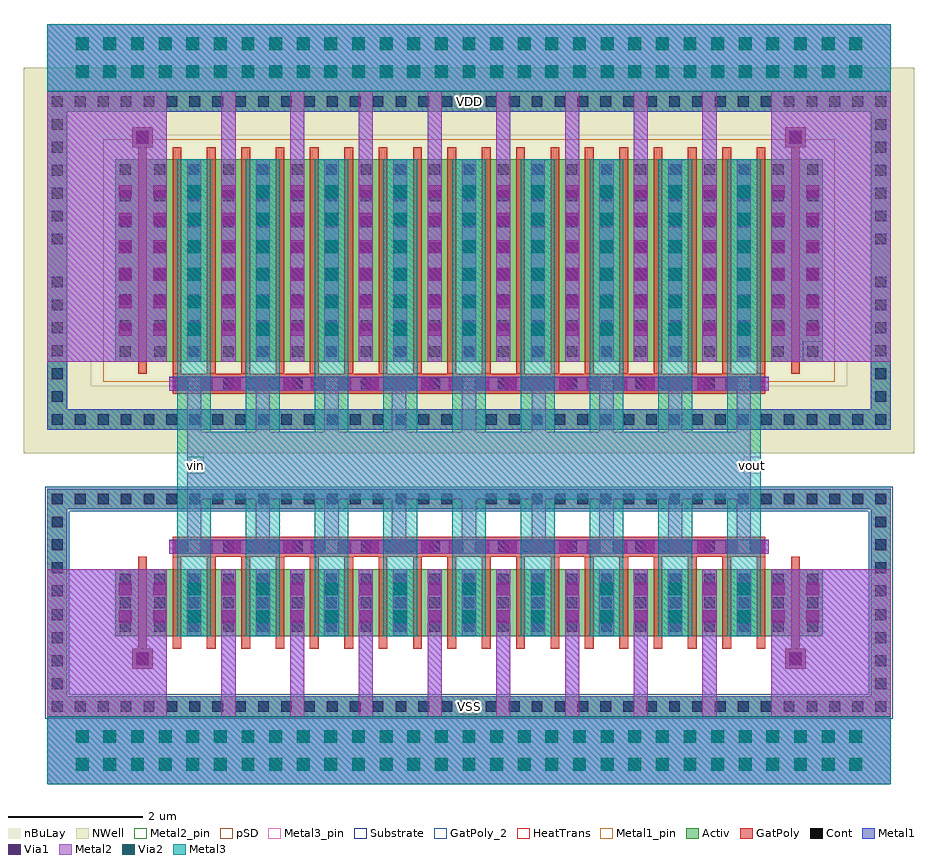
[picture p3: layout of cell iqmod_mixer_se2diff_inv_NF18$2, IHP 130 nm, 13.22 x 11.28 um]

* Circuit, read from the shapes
.subckt iqmod_mixer_se2diff_inv_NF18$2 VDD VSS vin vout
XM1 VSS VSS VSS VSS sg13_lv_nmos w=1u l=0.13u m=2
XM2 vout vin VSS VSS sg13_lv_nmos w=1u l=0.13u m=18
XM3 VDD VDD VDD VDD sg13_lv_pmos w=3u l=0.13u m=2
XM4 vout vin VDD VDD sg13_lv_pmos w=3u l=0.13u m=18
.ends

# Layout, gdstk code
from math import pi, radians
import gdstk
lib = gdstk.Library(unit=1e-6, precision=5e-09)
def R(c, l, rs):  # rectangles x0, y0, x1, y1
    for r in rs: c.add(gdstk.rectangle(r[:2], r[2:], *l))
def A(c, l, x, y, w, h, nx, ny, dx, dy):  # array of equal rectangles
    R(c, l, [(x+i*dx, y+j*dy, x+i*dx+w, y+j*dy+h) for i in range(nx) for j in range(ny)])
def P(c, l, *ps):  # polygons
    for p in ps: c.add(gdstk.Polygon(p, *l))
Activ = (1, 0)
GatPoly = (5, 0)
GatPoly_2 = (5, 2)
Cont = (6, 0)
Metal1 = (8, 0)
Metal1_pin = (8, 2)
Metal2 = (10, 0)
Metal2_pin = (10, 2)
pSD = (14, 0)
Via1 = (19, 0)
Via2 = (29, 0)
Metal3 = (30, 0)
Metal3_pin = (30, 2)
NWell = (31, 0)
nBuLay = (32, 0)
Substrate = (40, 0)
HeatTrans = (51, 0)

via_stack_124 = lib.new_cell('via_stack$124')
R(via_stack_124, Metal1, [(-0.105,-1.17,0.105,1.17)])
R(via_stack_124, Metal2, [(-0.1,-1.17,0.1,1.17)])
A(via_stack_124, Via1, -0.095, -1.12, 0.19, 0.19, 1, 6, 0, 0.41)
A(via_stack_124, Via2, -0.095, -1.12, 0.19, 0.19, 1, 6, 0, 0.41)
R(via_stack_124, Metal3, [(-0.1,-1.17,0.1,1.17)])

pmos_16 = lib.new_cell('pmos$16')
A(pmos_16, Activ, 0, 0, 0.3, 0.3, 21, 1, 0.51, 0)
R(pmos_16, Activ, [(-1.01,-0.71,-0.71,3.71), (11.21,-0.71,11.51,3.71), (0,0,10.5,3), (-1.01,3.71,11.51,4.01)])
P(pmos_16, Activ, [(-1.01,-1.01),(-1.01,3.71),(-0.71,3.71),(-0.71,-0.71),(11.21,-0.71),(11.21,3.71),(-1.01,3.71),(-1.01,4.01),(11.51,4.01),(11.51,-1.01)])
A(pmos_16, GatPoly, 0.34, -0.18, 0.13, 3.36, 20, 1, 0.51, 0)
R(pmos_16, GatPoly, [(0.34,-0.18,0.47,3.18)])
A(pmos_16, Cont, -0.94, -0.94, 0.16, 0.16, 18, 2, 0.34, 4.72)
A(pmos_16, Cont, 5.5, -0.94, 0.16, 0.16, 18, 2, 0.34, 4.72)
A(pmos_16, Cont, -0.94, -0.6, 0.16, 0.16, 1, 6, 0, 0.34)
A(pmos_16, Cont, 11.28, -0.6, 0.16, 0.16, 1, 6, 0, 0.34)
A(pmos_16, Cont, 0.07, 0.07, 0.16, 0.16, 21, 7, 0.51, 0.385)
A(pmos_16, Cont, -0.94, 1.74, 0.16, 0.16, 1, 6, 0, 0.34)
A(pmos_16, Cont, 11.28, 1.74, 0.16, 0.16, 1, 6, 0, 0.34)
A(pmos_16, Cont, 0.07, 2.77, 0.16, 0.16, 21, 1, 0.51, 0)
A(pmos_16, Metal1, 0.58, 0, 0.16, 3, 20, 1, 0.51, 0)
R(pmos_16, Metal1, [(-1.01,-1.01,11.51,-0.71), (-1.01,-0.71,-0.71,3.71), (11.21,-0.71,11.51,3.71), (0.07,0,0.23,3), (0.07,0,0.23,3), (0.58,0,0.74,3), (-1.01,3.71,11.51,4.01)])
R(pmos_16, pSD, [(-0.18,-0.3,10.68,3.3)])
R(pmos_16, NWell, [(-1.36,-1.36,11.86,4.36), (-0.31,-0.31,10.81,3.31)])
R(pmos_16, nBuLay, [(-1.36,-0.36,-0.36,3.36), (10.86,-0.36,11.86,3.36), (-1.36,3.36,11.86,4.36)])
P(pmos_16, nBuLay, [(-1.36,-1.36),(-1.36,3.36),(-0.36,3.36),(-0.36,-0.36),(10.86,-0.36),(10.86,3.36),(-1.36,3.36),(-1.36,4.36),(11.86,4.36),(11.86,-1.36)])
R(pmos_16, Substrate, [(10.2,0,10.5,0.3)])
A(pmos_16, HeatTrans, 0.34, -0.18, 0.13, 3.36, 20, 1, 0.51, 0)
pmos_16.add(gdstk.Label('pmos', (0.405,1.5), layer=63, texttype=0))
pmos_16.add(gdstk.Label('well', (5.25,-0.86), layer=63, texttype=0))
pmos_16.add(gdstk.Label('pmos', (0.405,1.5), layer=51, texttype=0))
pmos_16.add(gdstk.Label('pmos', (0.915,1.5), layer=51, texttype=0))
pmos_16.add(gdstk.Label('pmos', (1.425,1.5), layer=51, texttype=0))
pmos_16.add(gdstk.Label('pmos', (1.935,1.5), layer=51, texttype=0))
pmos_16.add(gdstk.Label('pmos', (2.445,1.5), layer=51, texttype=0))
pmos_16.add(gdstk.Label('pmos', (2.955,1.5), layer=51, texttype=0))
pmos_16.add(gdstk.Label('pmos', (3.465,1.5), layer=51, texttype=0))
pmos_16.add(gdstk.Label('pmos', (3.975,1.5), layer=51, texttype=0))
pmos_16.add(gdstk.Label('pmos', (4.485,1.5), layer=51, texttype=0))
pmos_16.add(gdstk.Label('pmos', (4.995,1.5), layer=51, texttype=0))
pmos_16.add(gdstk.Label('pmos', (5.505,1.5), layer=51, texttype=0))
pmos_16.add(gdstk.Label('pmos', (6.015,1.5), layer=51, texttype=0))
pmos_16.add(gdstk.Label('pmos', (6.525,1.5), layer=51, texttype=0))
pmos_16.add(gdstk.Label('pmos', (7.035,1.5), layer=51, texttype=0))
pmos_16.add(gdstk.Label('pmos', (7.545,1.5), layer=51, texttype=0))
pmos_16.add(gdstk.Label('pmos', (8.055,1.5), layer=51, texttype=0))
pmos_16.add(gdstk.Label('pmos', (8.565,1.5), layer=51, texttype=0))
pmos_16.add(gdstk.Label('pmos', (9.075,1.5), layer=51, texttype=0))
pmos_16.add(gdstk.Label('pmos', (9.585,1.5), layer=51, texttype=0))
pmos_16.add(gdstk.Label('pmos', (10.095,1.5), layer=51, texttype=0))

via_stack_125 = lib.new_cell('via_stack$125')
R(via_stack_125, Metal1, [(-0.105,-0.35,0.105,0.35)])
R(via_stack_125, Metal2, [(-0.1,-0.35,0.1,0.35)])
R(via_stack_125, Via1, [(-0.095,-0.3,0.095,-0.11), (-0.095,0.11,0.095,0.3)])
R(via_stack_125, Via2, [(-0.095,-0.3,0.095,-0.11), (-0.095,0.11,0.095,0.3)])
R(via_stack_125, Metal3, [(-0.1,-0.35,0.1,0.35)])

nmos_16 = lib.new_cell('nmos$16')
A(nmos_16, Activ, 0, 0, 0.3, 0.3, 21, 1, 0.51, 0)
R(nmos_16, Activ, [(-1.01,-0.89,-0.71,1.89), (11.21,-0.89,11.51,1.89), (0,0,10.5,1), (-1.01,1.89,11.51,2.19)])
P(nmos_16, Activ, [(-1.01,-1.19),(-1.01,1.89),(-0.71,1.89),(-0.71,-0.89),(11.21,-0.89),(11.21,1.89),(-1.01,1.89),(-1.01,2.19),(11.51,2.19),(11.51,-1.19)])
A(nmos_16, GatPoly, 0.34, -0.18, 0.13, 1.36, 20, 1, 0.51, 0)
R(nmos_16, GatPoly_2, [(0.34,-0.18,0.47,1.18)])
A(nmos_16, Cont, -0.94, -1.12, 0.16, 0.16, 18, 2, 0.34, 3.08)
A(nmos_16, Cont, 5.5, -1.12, 0.16, 0.16, 18, 2, 0.34, 3.08)
A(nmos_16, Cont, -0.94, -0.78, 0.16, 0.16, 1, 4, 0, 0.34)
A(nmos_16, Cont, 11.28, -0.78, 0.16, 0.16, 1, 4, 0, 0.34)
A(nmos_16, Cont, 0.07, 0.07, 0.16, 0.16, 21, 3, 0.51, 0.35)
A(nmos_16, Cont, -0.94, 0.6, 0.16, 0.16, 1, 4, 0, 0.34)
A(nmos_16, Cont, 11.28, 0.6, 0.16, 0.16, 1, 4, 0, 0.34)
A(nmos_16, Metal1, 0.07, 0, 0.16, 1, 21, 1, 0.51, 0)
R(nmos_16, Metal1, [(-1.01,-1.19,11.51,-0.89), (-1.01,-0.89,-0.71,1.89), (11.21,-0.89,11.51,1.89), (-1.01,1.89,11.51,2.19)])
R(nmos_16, Metal1_pin, [(0.07,0,0.23,1), (0.58,0,0.74,1)])
R(nmos_16, pSD, [(-1.04,-0.86,-0.68,1.86), (11.18,-0.86,11.54,1.86), (-1.04,1.86,11.54,2.22)])
P(nmos_16, pSD, [(-1.04,-1.22),(-1.04,1.86),(-0.68,1.86),(-0.68,-0.86),(11.18,-0.86),(11.18,1.86),(-1.04,1.86),(-1.04,2.22),(11.54,2.22),(11.54,-1.22)])
R(nmos_16, Substrate, [(-1.04,-0.86,-0.68,1.86), (11.18,-0.86,11.54,1.86), (-1.04,1.86,11.54,2.22)])
P(nmos_16, Substrate, [(-1.04,-1.22),(-1.04,1.86),(-0.68,1.86),(-0.68,-0.86),(11.18,-0.86),(11.18,1.86),(-1.04,1.86),(-1.04,2.22),(11.54,2.22),(11.54,-1.22)])
A(nmos_16, HeatTrans, 0.34, -0.18, 0.13, 1.36, 20, 1, 0.51, 0)
nmos_16.add(gdstk.Label('nmos', (0.405,0.5), layer=63, texttype=0))
nmos_16.add(gdstk.Label('sub!', (5.25,-1.04), layer=63, texttype=0))
nmos_16.add(gdstk.Label('nmos', (0.405,0.5), layer=51, texttype=0))
nmos_16.add(gdstk.Label('nmos', (0.915,0.5), layer=51, texttype=0))
nmos_16.add(gdstk.Label('nmos', (1.425,0.5), layer=51, texttype=0))
nmos_16.add(gdstk.Label('nmos', (1.935,0.5), layer=51, texttype=0))
nmos_16.add(gdstk.Label('nmos', (2.445,0.5), layer=51, texttype=0))
nmos_16.add(gdstk.Label('nmos', (2.955,0.5), layer=51, texttype=0))
nmos_16.add(gdstk.Label('nmos', (3.465,0.5), layer=51, texttype=0))
nmos_16.add(gdstk.Label('nmos', (3.975,0.5), layer=51, texttype=0))
nmos_16.add(gdstk.Label('nmos', (4.485,0.5), layer=51, texttype=0))
nmos_16.add(gdstk.Label('nmos', (4.995,0.5), layer=51, texttype=0))
nmos_16.add(gdstk.Label('nmos', (5.505,0.5), layer=51, texttype=0))
nmos_16.add(gdstk.Label('nmos', (6.015,0.5), layer=51, texttype=0))
nmos_16.add(gdstk.Label('nmos', (6.525,0.5), layer=51, texttype=0))
nmos_16.add(gdstk.Label('nmos', (7.035,0.5), layer=51, texttype=0))
nmos_16.add(gdstk.Label('nmos', (7.545,0.5), layer=51, texttype=0))
nmos_16.add(gdstk.Label('nmos', (8.055,0.5), layer=51, texttype=0))
nmos_16.add(gdstk.Label('nmos', (8.565,0.5), layer=51, texttype=0))
nmos_16.add(gdstk.Label('nmos', (9.075,0.5), layer=51, texttype=0))
nmos_16.add(gdstk.Label('nmos', (9.585,0.5), layer=51, texttype=0))
nmos_16.add(gdstk.Label('nmos', (10.095,0.5), layer=51, texttype=0))

via_stack_126 = lib.new_cell('via_stack$126')
R(via_stack_126, Metal1, [(-4.45,-0.105,4.45,0.105)])
R(via_stack_126, Metal2, [(-4.45,-0.1,4.45,0.1)])
A(via_stack_126, Via1, -4.4, -0.095, 0.19, 0.19, 22, 1, 0.41, 0)

via_stack_127 = lib.new_cell('via_stack$127')
R(via_stack_127, GatPoly, [(-4.4,-0.15,4.4,0.15)])
A(via_stack_127, Cont, -4.33, -0.08, 0.16, 0.16, 26, 1, 0.34, 0)
R(via_stack_127, Metal1, [(-4.38,-0.08,4.38,0.08)])

via_stack_128 = lib.new_cell('via_stack$128')
R(via_stack_128, GatPoly, [(-0.15,-0.15,0.15,0.15)])
R(via_stack_128, Cont, [(-0.08,-0.08,0.08,0.08)])
R(via_stack_128, Metal1, [(-0.145,-0.105,0.145,0.105)])
R(via_stack_128, Metal2, [(-0.145,-0.1,0.145,0.1)])
R(via_stack_128, Via1, [(-0.095,-0.095,0.095,0.095)])

via_stack_129 = lib.new_cell('via_stack$129')
R(via_stack_129, Metal1, [(-0.105,-1.17,0.105,1.17)])
R(via_stack_129, Metal2, [(-0.1,-1.17,0.1,1.17)])
A(via_stack_129, Via1, -0.095, -1.12, 0.19, 0.19, 1, 6, 0, 0.41)

via_stack_130 = lib.new_cell('via_stack$130')
R(via_stack_130, Metal1, [(-5.885,-0.31,5.885,0.31)])
R(via_stack_130, Metal2, [(-5.885,-0.305,5.885,0.305)])
A(via_stack_130, Via1, -5.835, -0.3, 0.19, 0.19, 29, 2, 0.41, 0.41)
A(via_stack_130, Via2, -5.835, -0.3, 0.19, 0.19, 29, 2, 0.41, 0.41)
R(via_stack_130, Metal3, [(-5.885,-0.305,5.885,0.305)])

via_stack_131 = lib.new_cell('via_stack$131')
R(via_stack_131, Metal1, [(-0.105,-0.35,0.105,0.35)])
R(via_stack_131, Metal2, [(-0.1,-0.35,0.1,0.35)])
R(via_stack_131, Via1, [(-0.095,-0.3,0.095,-0.11), (-0.095,0.11,0.095,0.3)])

iqmod_mixer_se2diff_inv_ = lib.new_cell('iqmod_mixer_se2diff_inv_NF18$2')
A(iqmod_mixer_se2diff_inv_, Metal1, 2.935, 1, 0.21, 2.19, 8, 1, 1.02, 0)
A(iqmod_mixer_se2diff_inv_, Metal1, 2.425, 2.19, 0.21, 1, 4, 1, 1.02, 0)
A(iqmod_mixer_se2diff_inv_, Metal1, 2.425, 6.27, 0.21, 3, 9, 1, 1.02, 0)
A(iqmod_mixer_se2diff_inv_, Metal1, 2.935, 6.27, 0.21, 4.01, 8, 1, 1.02, 0)
R(iqmod_mixer_se2diff_inv_, Metal1, [(0.35,0,12.87,1), (0.35,1,2.125,3.19), (6.36,1,6.86,1.3), (11.095,1,12.87,3.19), (1.615,1.71,1.915,2.01), (11.305,1.71,11.605,2.01), (2.425,2.19,2.635,3.19), (5.485,2.19,5.695,3.19), (6.505,2.19,6.715,3.19), (6.505,2.19,6.715,3.19), (7.525,2.19,7.735,3.19), (7.525,2.19,7.735,3.19), (8.545,2.19,8.755,3.19), (8.545,2.19,8.755,3.19), (9.565,2.19,9.775,3.19), (9.565,2.19,9.775,3.19), (10.585,2.19,10.795,3.19), (10.585,2.19,10.795,3.19), (0.35,6.27,2.125,10.28), (11.095,6.27,12.87,10.28), (1.615,9.45,1.915,9.75), (11.305,9.45,11.605,9.75), (6.36,9.98,6.86,10.28), (0.35,10.28,12.87,11.28)])
R(iqmod_mixer_se2diff_inv_, Metal1_pin, [(6.485,1.025,6.735,1.275), (6.485,10.005,6.735,10.255)])
A(iqmod_mixer_se2diff_inv_, Metal2, 2.935, 1, 0.21, 2.19, 8, 1, 1.02, 0)
A(iqmod_mixer_se2diff_inv_, Metal2, 2.425, 2.19, 0.21, 1, 9, 1, 1.02, 0)
A(iqmod_mixer_se2diff_inv_, Metal2, 2.425, 3.62, 0.21, 2.22, 3, 1, 1.02, 0)
A(iqmod_mixer_se2diff_inv_, Metal2, 8.545, 3.62, 0.21, 2.22, 3, 1, 1.02, 0)
A(iqmod_mixer_se2diff_inv_, Metal2, 2.425, 6.27, 0.21, 3, 9, 1, 1.02, 0)
A(iqmod_mixer_se2diff_inv_, Metal2, 2.935, 6.27, 0.21, 4.01, 8, 1, 1.02, 0)
R(iqmod_mixer_se2diff_inv_, Metal2, [(0.35,0,12.87,1), (0.35,1,2.125,3.19), (11.095,1,12.87,3.19), (1.615,1.71,1.915,2.01), (11.305,1.71,11.605,2.01), (5.465,3.62,5.675,5.84), (6.505,3.62,6.715,5.84), (7.54,3.62,7.75,5.84), (2.425,4.23,10.795,5.23), (0.35,6.27,2.125,10.28), (11.095,6.27,12.87,10.28), (1.615,9.45,1.915,9.75), (11.305,9.45,11.605,9.75), (0.35,10.28,12.87,11.28)])
R(iqmod_mixer_se2diff_inv_, Metal2_pin, [(2.425,4.605,2.675,4.855)])
A(iqmod_mixer_se2diff_inv_, Metal3, 2.28, 2.19, 0.5, 7.08, 9, 1, 1.02, 0)
A(iqmod_mixer_se2diff_inv_, Metal3, 2.425, 2.19, 0.21, 1, 9, 1, 1.02, 0)
A(iqmod_mixer_se2diff_inv_, Metal3, 2.425, 6.27, 0.21, 3, 9, 1, 1.02, 0)
R(iqmod_mixer_se2diff_inv_, Metal3, [(0.35,0,12.87,1), (2.28,4.23,10.94,5.23), (0.35,10.28,12.87,11.28)])
R(iqmod_mixer_se2diff_inv_, Metal3_pin, [(10.69,4.605,10.94,4.855)])
iqmod_mixer_se2diff_inv_.add(gdstk.Reference(via_stack_124, (2.53,7.77)))
iqmod_mixer_se2diff_inv_.add(gdstk.Reference(pmos_16, (1.36,6.27)))
iqmod_mixer_se2diff_inv_.add(gdstk.Reference(via_stack_125, (2.53,2.69)))
iqmod_mixer_se2diff_inv_.add(gdstk.Reference(nmos_16, (1.36,2.19)))
iqmod_mixer_se2diff_inv_.add(gdstk.Reference(via_stack_124, (3.55,7.77)))
iqmod_mixer_se2diff_inv_.add(gdstk.Reference(via_stack_124, (4.57,7.77)))
iqmod_mixer_se2diff_inv_.add(gdstk.Reference(via_stack_125, (3.55,2.69)))
iqmod_mixer_se2diff_inv_.add(gdstk.Reference(via_stack_125, (4.57,2.69)))
iqmod_mixer_se2diff_inv_.add(gdstk.Reference(via_stack_125, (6.61,2.69)))
iqmod_mixer_se2diff_inv_.add(gdstk.Reference(via_stack_124, (6.61,7.77)))
iqmod_mixer_se2diff_inv_.add(gdstk.Reference(via_stack_124, (8.65,7.77)))
iqmod_mixer_se2diff_inv_.add(gdstk.Reference(via_stack_124, (7.63,7.77)))
iqmod_mixer_se2diff_inv_.add(gdstk.Reference(via_stack_124, (5.59,7.77)))
iqmod_mixer_se2diff_inv_.add(gdstk.Reference(via_stack_124, (9.67,7.77)))
iqmod_mixer_se2diff_inv_.add(gdstk.Reference(via_stack_124, (10.69,7.77)))
iqmod_mixer_se2diff_inv_.add(gdstk.Reference(via_stack_125, (8.65,2.69)))
iqmod_mixer_se2diff_inv_.add(gdstk.Reference(via_stack_125, (10.69,2.69)))
iqmod_mixer_se2diff_inv_.add(gdstk.Reference(via_stack_125, (7.63,2.69)))
iqmod_mixer_se2diff_inv_.add(gdstk.Reference(via_stack_125, (5.59,2.69)))
iqmod_mixer_se2diff_inv_.add(gdstk.Reference(via_stack_125, (9.67,2.69)))
iqmod_mixer_se2diff_inv_.add(gdstk.Reference(via_stack_126, (6.61,3.52)))
iqmod_mixer_se2diff_inv_.add(gdstk.Reference(via_stack_127, (6.61,3.52)))
iqmod_mixer_se2diff_inv_.add(gdstk.Reference(via_stack_127, (6.61,5.94)))
iqmod_mixer_se2diff_inv_.add(gdstk.Reference(via_stack_126, (6.61,5.94)))
iqmod_mixer_se2diff_inv_.add(gdstk.Reference(via_stack_128, (1.765,9.6)))
iqmod_mixer_se2diff_inv_.add(gdstk.Reference(via_stack_129, (1.51,7.77)))
iqmod_mixer_se2diff_inv_.add(gdstk.Reference(via_stack_129, (2.02,7.77)))
iqmod_mixer_se2diff_inv_.add(gdstk.Reference(via_stack_130, (6.61,10.78)))
iqmod_mixer_se2diff_inv_.add(gdstk.Reference(via_stack_130, (6.61,0.5)))
iqmod_mixer_se2diff_inv_.add(gdstk.Reference(via_stack_128, (11.455,9.6), rotation=pi, x_reflection=True))
iqmod_mixer_se2diff_inv_.add(gdstk.Reference(via_stack_129, (11.71,7.77), rotation=pi, x_reflection=True))
iqmod_mixer_se2diff_inv_.add(gdstk.Reference(via_stack_129, (11.2,7.77), rotation=pi, x_reflection=True))
iqmod_mixer_se2diff_inv_.add(gdstk.Reference(via_stack_128, (1.765,1.86)))
iqmod_mixer_se2diff_inv_.add(gdstk.Reference(via_stack_131, (2.02,2.69)))
iqmod_mixer_se2diff_inv_.add(gdstk.Reference(via_stack_131, (1.51,2.69)))
iqmod_mixer_se2diff_inv_.add(gdstk.Reference(via_stack_128, (11.455,1.86), rotation=pi, x_reflection=True))
iqmod_mixer_se2diff_inv_.add(gdstk.Reference(via_stack_131, (11.2,2.69), rotation=pi, x_reflection=True))
iqmod_mixer_se2diff_inv_.add(gdstk.Reference(via_stack_131, (11.71,2.69), rotation=pi, x_reflection=True))
iqmod_mixer_se2diff_inv_.add(gdstk.Reference(via_stack_129, (3.04,7.77)))
iqmod_mixer_se2diff_inv_.add(gdstk.Reference(via_stack_131, (3.04,2.69)))
iqmod_mixer_se2diff_inv_.add(gdstk.Reference(via_stack_129, (10.18,7.77)))
iqmod_mixer_se2diff_inv_.add(gdstk.Reference(via_stack_129, (9.16,7.77)))
iqmod_mixer_se2diff_inv_.add(gdstk.Reference(via_stack_129, (8.14,7.77)))
iqmod_mixer_se2diff_inv_.add(gdstk.Reference(via_stack_129, (7.12,7.77)))
iqmod_mixer_se2diff_inv_.add(gdstk.Reference(via_stack_129, (6.1,7.77)))
iqmod_mixer_se2diff_inv_.add(gdstk.Reference(via_stack_129, (5.08,7.77)))
iqmod_mixer_se2diff_inv_.add(gdstk.Reference(via_stack_129, (4.06,7.77)))
iqmod_mixer_se2diff_inv_.add(gdstk.Reference(via_stack_131, (5.08,2.69)))
iqmod_mixer_se2diff_inv_.add(gdstk.Reference(via_stack_131, (4.06,2.69)))
iqmod_mixer_se2diff_inv_.add(gdstk.Reference(via_stack_131, (6.1,2.69)))
iqmod_mixer_se2diff_inv_.add(gdstk.Reference(via_stack_131, (7.12,2.69)))
iqmod_mixer_se2diff_inv_.add(gdstk.Reference(via_stack_131, (8.14,2.69)))
iqmod_mixer_se2diff_inv_.add(gdstk.Reference(via_stack_131, (9.16,2.69)))
iqmod_mixer_se2diff_inv_.add(gdstk.Reference(via_stack_131, (10.18,2.69)))
iqmod_mixer_se2diff_inv_.add(gdstk.Label('vin', (2.55,4.73), layer=10, texttype=25))
iqmod_mixer_se2diff_inv_.add(gdstk.Label('VDD', (6.61,10.13), layer=8, texttype=25))
iqmod_mixer_se2diff_inv_.add(gdstk.Label('VSS', (6.61,1.15), layer=8, texttype=25))
iqmod_mixer_se2diff_inv_.add(gdstk.Label('vout', (10.815,4.73), layer=30, texttype=25))

lib.write_gds('iqmod_mixer_se2diff_inv_NF18_2.gds')
